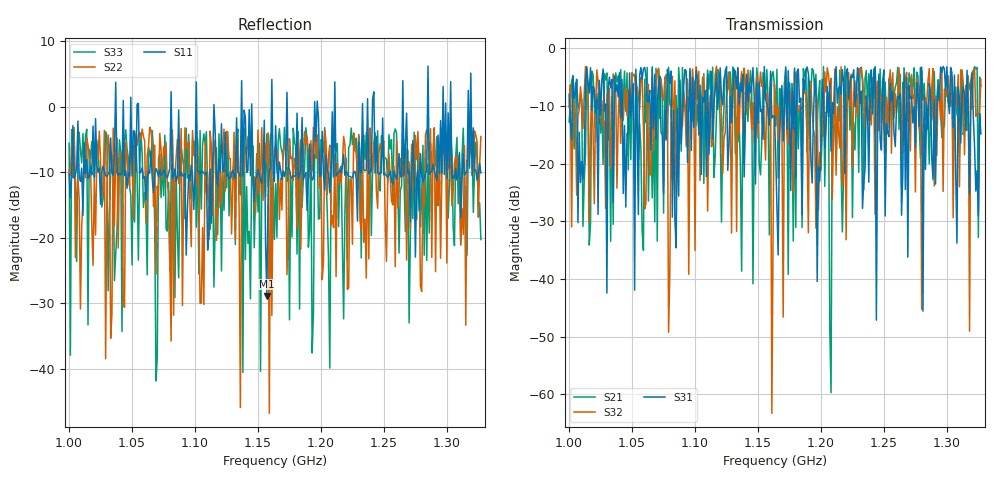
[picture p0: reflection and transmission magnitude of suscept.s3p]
# Hz S RI R 50
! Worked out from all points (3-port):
!   328 points, 1 GHz to 1.327 GHz, reference 50 ohm
!   strongest paths, dB at 1 GHz, 1.082 GHz, 1.164 GHz, 1.246 GHz, 1.327 GHz:
!     S31: -8.0, -29.3, -17.6, -4.5, -14.8
!     S32: -10.2, -4.9, -11.6, -14.3, -5.4
!     S21: -12.8, -22.7, -13.5, -12.2, -6.6
!   lowest |S11| = -28.9 dB at 1.157 GHz (marker M1), VSWR 1.07, Z = 47.2 - j2.08 ohm
!   |S11| at or under -10 dB: 1.037997 GHz to 1.042022 GHz (4.025 MHz wide, 0.387 % of centre); 1.089 GHz to 1.097 GHz (7.531 MHz wide, 0.689 % of centre); 1.220394 GHz to 1.22611 GHz (5.716 MHz wide, 0.467 % of centre) (the widest 3 of 85)
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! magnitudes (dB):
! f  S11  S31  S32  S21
! 1 GHz  -10.2  -8.0  -10.2  -12.8
! 1.157 GHz  -28.9  -9.7  -7.8  -3.7
! 1.161 GHz  4.2  -12.1  -63.3  -4.7
! 1.164 GHz  -2.9  -17.6  -11.6  -13.5
! 1.202 GHz  -10.3  -8.6  -15.2  -3.2
! 1.208 GHz  -9.7  -17.8  -5.2  -59.7
! 1.265 GHz  4.0  -21.7  -7.4  -5.9
! 1.267 GHz  -6.0  -24.5  -5.4  -4.9
! 1.269 GHz  -10.2  -36.2  -12.7  -9.4
! 1.327 GHz  -10.1  -14.8  -5.4  -6.6
